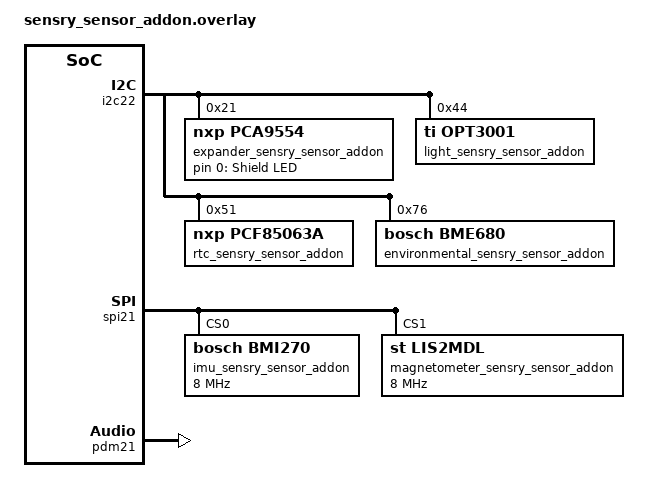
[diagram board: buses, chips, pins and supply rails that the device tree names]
/*
 * Copyright (c) 2026 Sensry GmbH
 * SPDX-License-Identifier: Apache-2.0
 */

sensry_i2c: &i2c22 {};

sensry_spi: &spi21 {};

sensry_pdm: &pdm21 {};

/ {
	sensry-leds {
		compatible = "gpio-leds";

		led_sensry_sensor_addon: shield-led {
			gpios = <&expander_sensry_sensor_addon 0 GPIO_ACTIVE_HIGH>;
			label = "Shield LED";
		};
	};
};

&sensry_i2c {
	expander_sensry_sensor_addon: gpio@21 {
		compatible = "nxp,pca9554";
		reg = <0x21>;
		no-auto-reset;
		gpio-controller;
		#gpio-cells = <2>;
		ngpios = <8>;
	};

	light_sensry_sensor_addon: opt3002@44 {
		compatible = "ti,opt3001";
		reg = <0x44>;
	};

	rtc_sensry_sensor_addon: rtc@51 {
		compatible = "nxp,pcf85063a";
		reg = <0x51>;
	};

	environmental_sensry_sensor_addon: bme680@76 {
		compatible = "bosch,bme680";
		reg = <0x76>;
	};
};

&sensry_spi {
	imu_sensry_sensor_addon: imu@0 {
		compatible = "bosch,bmi270";
		reg = <0>;
		spi-max-frequency = <8000000>;
		spi-cpol;
		spi-cpha;
	};

	magnetometer_sensry_sensor_addon: lis2mdl@1 {
		compatible = "st,lis2mdl";
		reg = <1>;
		spi-max-frequency = <8000000>;
	};
};

microphone_sensry_sensor_addon: &sensry_pdm {
	status = "okay";
};
